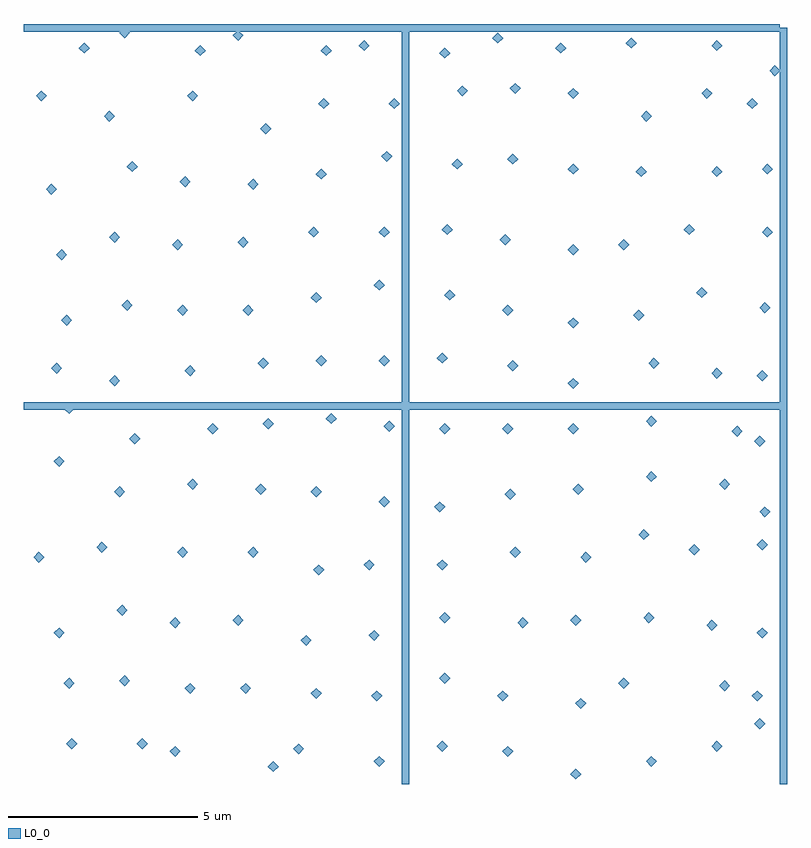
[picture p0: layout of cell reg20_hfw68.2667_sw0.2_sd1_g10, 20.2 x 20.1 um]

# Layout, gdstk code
import gdstk
lib = gdstk.Library(unit=1e-6, precision=1e-11)
def P(c, l, *ps):  # polygons
    for p in ps: c.add(gdstk.Polygon(p, *l))
L0_0 = (0, 0)

reg20_hfw68_2667_sw0_2_s = lib.new_cell('reg20_hfw68.2667_sw0.2_sd1_g10')
P(reg20_hfw68_2667_sw0_2_s, L0_0, [(10,0),(10,9.9),(1.3162,9.9),(1.204,9.7879),(1.0919,9.9),(0,9.9),(0,10.1),(10,10.1),(10,19.9),(5.7081,19.9),(5.8121,19.796),(5.6707,19.6545),(5.5293,19.796),(5.6333,19.9),(2.7747,19.9),(2.8121,19.8626),(2.6707,19.7212),(2.5293,19.8626),(2.5667,19.9),(10.2,19.9),(10.2,10.1),(20,10.1),(20,18.8505),(19.8707,18.7212),(19.7293,18.8626),(19.8707,19.004),(20,18.8747),(20,19.9),(0,19.9),(0,20.1),(20,20.1),(20,20),(20.2,20),(20.2,0),(20,0),(20,9.9),(10.2,9.9),(10.2,0)],
  [(19.5374,10.6545),(19.396,10.796),(19.5374,10.9374),(19.6788,10.796)],
  [(18.3374,10.7212),(18.196,10.8626),(18.3374,11.004),(18.4788,10.8626)],
  [(12.9374,10.9212),(12.796,11.0626),(12.9374,11.204),(13.0788,11.0626)],
  [(16.6707,10.9879),(16.5293,11.1293),(16.6707,11.2707),(16.8121,11.1293)],
  [(11.0707,11.1212),(10.9293,11.2626),(11.0707,11.404),(11.2121,11.2626)],
  [(14.5374,12.0545),(14.396,12.196),(14.5374,12.3374),(14.6788,12.196)],
  [(16.2707,12.2545),(16.1293,12.396),(16.2707,12.5374),(16.4121,12.396)],
  [(12.804,12.3879),(12.6626,12.5293),(12.804,12.6707),(12.9455,12.5293)],
  [(19.604,12.4545),(19.4626,12.596),(19.604,12.7374),(19.7455,12.596)],
  [(11.2707,12.7879),(11.1293,12.9293),(11.2707,13.0707),(11.4121,12.9293)],
  [(17.9374,12.8545),(17.796,12.996),(17.9374,13.1374),(18.0788,12.996)],
  [(14.5374,13.9879),(14.396,14.1293),(14.5374,14.2707),(14.6788,14.1293)],
  [(15.8707,14.1212),(15.7293,14.2626),(15.8707,14.404),(16.0121,14.2626)],
  [(12.7374,14.2545),(12.596,14.396),(12.7374,14.5374),(12.8788,14.396)],
  [(19.6707,14.4545),(19.5293,14.596),(19.6707,14.7374),(19.8121,14.596)],
  [(11.204,14.5212),(11.0626,14.6626),(11.204,14.804),(11.3455,14.6626)],
  [(17.604,14.5212),(17.4626,14.6626),(17.604,14.804),(17.7455,14.6626)],
  [(16.3374,16.0545),(16.196,16.196),(16.3374,16.3374),(16.4788,16.196)],
  [(18.3374,16.0545),(18.196,16.196),(18.3374,16.3374),(18.4788,16.196)],
  [(14.5374,16.1212),(14.396,16.2626),(14.5374,16.404),(14.6788,16.2626)],
  [(19.6707,16.1212),(19.5293,16.2626),(19.6707,16.404),(19.8121,16.2626)],
  [(11.4707,16.2545),(11.3293,16.396),(11.4707,16.5374),(11.6121,16.396)],
  [(12.9374,16.3879),(12.796,16.5293),(12.9374,16.6707),(13.0788,16.5293)],
  [(16.4707,17.5212),(16.3293,17.6626),(16.4707,17.804),(16.6121,17.6626)],
  [(19.2707,17.8545),(19.1293,17.996),(19.2707,18.1374),(19.4121,17.996)],
  [(14.5374,18.1212),(14.396,18.2626),(14.5374,18.404),(14.6788,18.2626)],
  [(18.0707,18.1212),(17.9293,18.2626),(18.0707,18.404),(18.2121,18.2626)],
  [(11.604,18.1879),(11.4626,18.3293),(11.604,18.4707),(11.7455,18.3293)],
  [(13.004,18.2545),(12.8626,18.396),(13.004,18.5374),(13.1455,18.396)],
  [(11.1374,19.1879),(10.996,19.3293),(11.1374,19.4707),(11.2788,19.3293)],
  [(14.204,19.3212),(14.0626,19.4626),(14.204,19.604),(14.3455,19.4626)],
  [(18.3374,19.3879),(18.196,19.5293),(18.3374,19.6707),(18.4788,19.5293)],
  [(16.0707,19.4545),(15.9293,19.596),(16.0707,19.7374),(16.2121,19.596)],
  [(12.5374,19.5879),(12.396,19.7293),(12.5374,19.8707),(12.6788,19.7293)],
  [(14.5374,10.4545),(14.396,10.596),(14.5374,10.7374),(14.6788,10.596)],
  [(0.7374,15.5879),(0.596,15.7293),(0.7374,15.8707),(0.8788,15.7293)],
  [(6.0707,15.7212),(5.9293,15.8626),(6.0707,16.004),(6.2121,15.8626)],
  [(4.2707,15.7879),(4.1293,15.9293),(4.2707,16.0707),(4.4121,15.9293)],
  [(7.8707,15.9879),(7.7293,16.1293),(7.8707,16.2707),(8.0121,16.1293)],
  [(7.8707,11.0545),(7.7293,11.196),(7.8707,11.3374),(8.0121,11.196)],
  [(2.7374,12.5212),(2.596,12.6626),(2.7374,12.804),(2.8788,12.6626)],
  [(7.7374,12.7212),(7.596,12.8626),(7.7374,13.004),(7.8788,12.8626)],
  [(9.5374,11.0545),(9.396,11.196),(9.5374,11.3374),(9.6788,11.196)],
  [(2.8707,16.1879),(2.7293,16.3293),(2.8707,16.4707),(3.0121,16.3293)],
  [(0.8707,10.8545),(0.7293,10.996),(0.8707,11.1374),(1.0121,10.996)],
  [(9.404,13.0545),(9.2626,13.196),(9.404,13.3374),(9.5455,13.196)],
  [(9.604,16.4545),(9.4626,16.596),(9.604,16.7374),(9.7455,16.596)],
  [(6.404,17.1879),(6.2626,17.3293),(6.404,17.4707),(6.5455,17.3293)],
  [(2.2707,17.5212),(2.1293,17.6626),(2.2707,17.804),(2.4121,17.6626)],
  [(1.004,13.8545),(0.8626,13.996),(1.004,14.1374),(1.1455,13.996)],
  [(7.9374,17.8545),(7.796,17.996),(7.9374,18.1374),(8.0788,17.996)],
  [(9.804,17.8545),(9.6626,17.996),(9.804,18.1374),(9.9455,17.996)],
  [(2.404,10.5212),(2.2626,10.6626),(2.404,10.804),(2.5455,10.6626)],
  [(0.4707,18.0545),(0.3293,18.196),(0.4707,18.3374),(0.6121,18.196)],
  [(4.4707,18.0545),(4.3293,18.196),(4.4707,18.3374),(4.6121,18.196)],
  [(4.0707,14.1212),(3.9293,14.2626),(4.0707,14.404),(4.2121,14.2626)],
  [(1.1374,12.1212),(0.996,12.2626),(1.1374,12.404),(1.2788,12.2626)],
  [(5.804,14.1879),(5.6626,14.3293),(5.804,14.4707),(5.9455,14.3293)],
  [(6.3374,10.9879),(6.196,11.1293),(6.3374,11.2707),(6.4788,11.1293)],
  [(2.404,14.3212),(2.2626,14.4626),(2.404,14.604),(2.5455,14.4626)],
  [(4.6707,19.2545),(4.5293,19.396),(4.6707,19.5374),(4.8121,19.396)],
  [(8.004,19.2545),(7.8626,19.396),(8.004,19.5374),(8.1455,19.396)],
  [(1.604,19.3212),(1.4626,19.4626),(1.604,19.604),(1.7455,19.4626)],
  [(7.6707,14.4545),(7.5293,14.596),(7.6707,14.7374),(7.8121,14.596)],
  [(9.004,19.3879),(8.8626,19.5293),(9.004,19.6707),(9.1455,19.5293)],
  [(9.5374,14.4545),(9.396,14.596),(9.5374,14.7374),(9.6788,14.596)],
  [(4.204,12.3879),(4.0626,12.5293),(4.204,12.6707),(4.3455,12.5293)],
  [(5.9374,12.3879),(5.796,12.5293),(5.9374,12.6707),(6.0788,12.5293)],
  [(4.404,10.7879),(4.2626,10.9293),(4.404,11.0707),(4.5455,10.9293)],
  [(6.604,0.3212),(6.4626,0.4626),(6.604,0.604),(6.7455,0.4626)],
  [(9.404,0.4545),(9.2626,0.596),(9.404,0.7374),(9.5455,0.596)],
  [(4.004,0.7212),(3.8626,0.8626),(4.004,1.004),(4.1455,0.8626)],
  [(7.2707,0.7879),(7.1293,0.9293),(7.2707,1.0707),(7.4121,0.9293)],
  [(1.2707,0.9212),(1.1293,1.0626),(1.2707,1.204),(1.4121,1.0626)],
  [(3.1374,0.9212),(2.996,1.0626),(3.1374,1.204),(3.2788,1.0626)],
  [(9.3374,2.1879),(9.196,2.3293),(9.3374,2.4707),(9.4788,2.3293)],
  [(7.7374,2.2545),(7.596,2.396),(7.7374,2.5374),(7.8788,2.396)],
  [(4.404,2.3879),(4.2626,2.5293),(4.404,2.6707),(4.5455,2.5293)],
  [(5.8707,2.3879),(5.7293,2.5293),(5.8707,2.6707),(6.0121,2.5293)],
  [(1.204,2.5212),(1.0626,2.6626),(1.204,2.804),(1.3455,2.6626)],
  [(2.6707,2.5879),(2.5293,2.7293),(2.6707,2.8707),(2.8121,2.7293)],
  [(7.4707,3.6545),(7.3293,3.796),(7.4707,3.9374),(7.6121,3.796)],
  [(9.2707,3.7879),(9.1293,3.9293),(9.2707,4.0707),(9.4121,3.9293)],
  [(0.9374,3.8545),(0.796,3.996),(0.9374,4.1374),(1.0788,3.996)],
  [(4.004,4.1212),(3.8626,4.2626),(4.004,4.404),(4.1455,4.2626)],
  [(5.6707,4.1879),(5.5293,4.3293),(5.6707,4.4707),(5.8121,4.3293)],
  [(2.604,4.4545),(2.4626,4.596),(2.604,4.7374),(2.7455,4.596)],
  [(7.804,5.5212),(7.6626,5.6626),(7.804,5.804),(7.9455,5.6626)],
  [(9.1374,5.6545),(8.996,5.796),(9.1374,5.9374),(9.2788,5.796)],
  [(0.404,5.8545),(0.2626,5.996),(0.404,6.1374),(0.5455,5.996)],
  [(4.204,5.9879),(4.0626,6.1293),(4.204,6.2707),(4.3455,6.1293)],
  [(6.0707,5.9879),(5.9293,6.1293),(6.0707,6.2707),(6.2121,6.1293)],
  [(2.0707,6.1212),(1.9293,6.2626),(2.0707,6.404),(2.2121,6.2626)],
  [(9.5374,7.3212),(9.396,7.4626),(9.5374,7.604),(9.6788,7.4626)],
  [(2.5374,7.5879),(2.396,7.7293),(2.5374,7.8707),(2.6788,7.7293)],
  [(7.7374,7.5879),(7.596,7.7293),(7.7374,7.8707),(7.8788,7.7293)],
  [(6.2707,7.6545),(6.1293,7.796),(6.2707,7.9374),(6.4121,7.796)],
  [(4.4707,7.7879),(4.3293,7.9293),(4.4707,8.0707),(4.6121,7.9293)],
  [(0.9374,8.3879),(0.796,8.5293),(0.9374,8.6707),(1.0788,8.5293)],
  [(2.9374,8.9879),(2.796,9.1293),(2.9374,9.2707),(3.0788,9.1293)],
  [(5.004,9.2545),(4.8626,9.396),(5.004,9.5374),(5.1455,9.396)],
  [(9.6707,9.3212),(9.5293,9.4626),(9.6707,9.604),(9.8121,9.4626)],
  [(6.4707,9.3879),(6.3293,9.5293),(6.4707,9.6707),(6.6121,9.5293)],
  [(8.1374,9.5212),(7.996,9.6626),(8.1374,9.804),(8.2788,9.6626)],
  [(16.604,9.4545),(16.4626,9.596),(16.604,9.7374),(16.7455,9.596)],
  [(16.5374,4.2545),(16.396,4.396),(16.5374,4.5374),(16.6788,4.396)],
  [(18.3374,0.8545),(18.196,0.996),(18.3374,1.1374),(18.4788,0.996)],
  [(14.604,0.1212),(14.4626,0.2626),(14.604,0.404),(14.7455,0.2626)],
  [(18.5374,2.4545),(18.396,2.596),(18.5374,2.7374),(18.6788,2.596)],
  [(11.0707,5.6545),(10.9293,5.796),(11.0707,5.9374),(11.2121,5.796)],
  [(12.804,0.7212),(12.6626,0.8626),(12.804,1.004),(12.9455,0.8626)],
  [(14.8707,5.8545),(14.7293,5.996),(14.8707,6.1374),(15.0121,5.996)],
  [(15.8707,2.5212),(15.7293,2.6626),(15.8707,2.804),(16.0121,2.6626)],
  [(19.4707,1.4545),(19.3293,1.596),(19.4707,1.7374),(19.6121,1.596)],
  [(13.004,5.9879),(12.8626,6.1293),(13.004,6.2707),(13.1455,6.1293)],
  [(17.7374,6.0545),(17.596,6.196),(17.7374,6.3374),(17.8788,6.196)],
  [(11.1374,2.6545),(10.996,2.796),(11.1374,2.9374),(11.2788,2.796)],
  [(19.5374,6.1879),(19.396,6.3293),(19.5374,6.4707),(19.6788,6.3293)],
  [(16.404,6.4545),(16.2626,6.596),(16.404,6.7374),(16.5455,6.596)],
  [(19.604,7.0545),(19.4626,7.196),(19.604,7.3374),(19.7455,7.196)],
  [(11.004,7.1879),(10.8626,7.3293),(11.004,7.4707),(11.1455,7.3293)],
  [(14.7374,1.9879),(14.596,2.1293),(14.7374,2.2707),(14.8788,2.1293)],
  [(12.8707,7.5212),(12.7293,7.6626),(12.8707,7.804),(13.0121,7.6626)],
  [(16.604,0.4545),(16.4626,0.596),(16.604,0.7374),(16.7455,0.596)],
  [(12.6707,2.1879),(12.5293,2.3293),(12.6707,2.4707),(12.8121,2.3293)],
  [(19.5374,3.8545),(19.396,3.996),(19.5374,4.1374),(19.6788,3.996)],
  [(14.6707,7.6545),(14.5293,7.796),(14.6707,7.9374),(14.8121,7.796)],
  [(18.204,4.0545),(18.0626,4.196),(18.204,4.3374),(18.3455,4.196)],
  [(18.5374,7.7879),(18.396,7.9293),(18.5374,8.0707),(18.6788,7.9293)],
  [(16.604,7.9879),(16.4626,8.1293),(16.604,8.2707),(16.7455,8.1293)],
  [(19.404,2.1879),(19.2626,2.3293),(19.404,2.4707),(19.5455,2.3293)],
  [(19.4707,8.9212),(19.3293,9.0626),(19.4707,9.204),(19.6121,9.0626)],
  [(13.204,4.1212),(13.0626,4.2626),(13.204,4.404),(13.3455,4.2626)],
  [(18.8707,9.1879),(18.7293,9.3293),(18.8707,9.4707),(19.0121,9.3293)],
  [(11.0707,0.8545),(10.9293,0.996),(11.0707,1.1374),(11.2121,0.996)],
  [(11.1374,9.2545),(10.996,9.396),(11.1374,9.5374),(11.2788,9.396)],
  [(12.804,9.2545),(12.6626,9.396),(12.804,9.5374),(12.9455,9.396)],
  [(14.5374,9.2545),(14.396,9.396),(14.5374,9.5374),(14.6788,9.396)],
  [(14.604,4.1879),(14.4626,4.3293),(14.604,4.4707),(14.7455,4.3293)],
  [(11.1374,4.2545),(10.996,4.396),(11.1374,4.5374),(11.2788,4.396)])

lib.write_gds('reg20_hfw68.2667_sw0.2_sd1_g10.gds')
